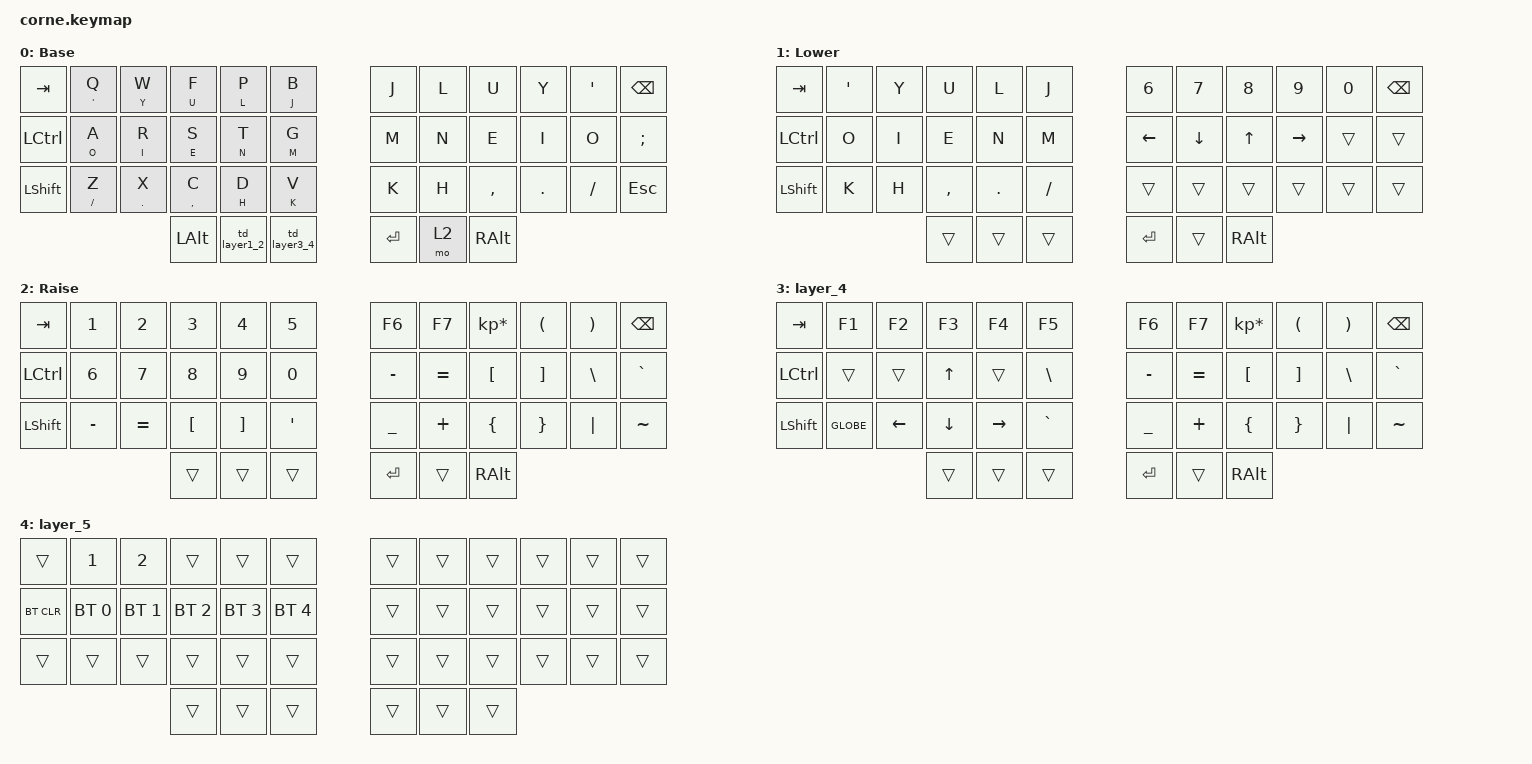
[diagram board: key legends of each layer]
/*
 * Copyright (c) 2020 The ZMK Contributors
 *
 * SPDX-License-Identifier: MIT
 */

#include <behaviors.dtsi>
#include <dt-bindings/zmk/bt.h>
#include <dt-bindings/zmk/keys.h>

/ {
    combos {
        compatible = "zmk,combos";

        enter2 {
            bindings = <&kp ENTER>;
            key-positions = <4 16>;
        };

        bck2 {
            bindings = <&kp BACKSPACE>;
            key-positions = <16 3>;
        };

        esc2 {
            bindings = <&kp ESCAPE>;
            key-positions = <2 14>;
        };

        space2 {
            bindings = <&kp SPACE>;
            key-positions = <3 15>;
        };

        layer_0 {
            bindings = <&to 0>;
            key-positions = <37 1>;
        };

        layer_bt {
            bindings = <&to 4>;
            key-positions = <37 5>;
        };
    };

    behaviors {
        td_layer1_2: td_layer1_2 {
            compatible = "zmk,behavior-tap-dance";
            label = "TD_LAYER1_2";
            #binding-cells = <0>;
            bindings = <&to 0>, <&to 1>, <&to 2>, <&to 3>, <&to 4>;

            tapping-term-ms = <300>;
        };

        td_layer3_4: td_layer3_4 {
            compatible = "zmk,behavior-tap-dance";
            label = "TD_LAYER3_4";
            #binding-cells = <0>;
            tapping-term-ms = <300>;
            bindings = <&kp LEFT_GUI>, <&to 3>, <&to 4>;
        };

        Q_Apostrophe: Q_Apostrophe {
            compatible = "zmk,behavior-hold-tap";
            label = "Q_APOSTROPHE";
            bindings = <&kp>, <&kp>;

            #binding-cells = <2>;
            tapping-term-ms = <300>;
        };

        W_Y: W_Y {
            compatible = "zmk,behavior-hold-tap";
            label = "W_Y";
            bindings = <&kp>, <&kp>;

            #binding-cells = <2>;
            tapping-term-ms = <300>;
        };

        F_U: F_U {
            compatible = "zmk,behavior-hold-tap";
            label = "F_U";
            bindings = <&kp>, <&kp>;

            #binding-cells = <2>;
            tapping-term-ms = <300>;
        };

        P_L: P_L {
            compatible = "zmk,behavior-hold-tap";
            label = "P_L";
            bindings = <&kp>, <&kp>;

            #binding-cells = <2>;
            tapping-term-ms = <300>;
        };

        B_J: B_J {
            compatible = "zmk,behavior-hold-tap";
            label = "B_J";
            bindings = <&kp>, <&kp>;

            #binding-cells = <2>;
            tapping-term-ms = <300>;
        };

        A_O: A_O {
            compatible = "zmk,behavior-hold-tap";
            label = "A_O";
            bindings = <&kp>, <&kp>;

            #binding-cells = <2>;
            tapping-term-ms = <300>;
        };

        R_I: R_I {
            compatible = "zmk,behavior-hold-tap";
            label = "R_I";
            bindings = <&kp>, <&kp>;

            #binding-cells = <2>;
            tapping-term-ms = <300>;
        };

        S_E: S_E {
            compatible = "zmk,behavior-hold-tap";
            label = "S_E";
            bindings = <&kp>, <&kp>;

            #binding-cells = <2>;
            tapping-term-ms = <300>;
        };

        T_N: T_N {
            compatible = "zmk,behavior-hold-tap";
            label = "T_N";
            bindings = <&kp>, <&kp>;

            #binding-cells = <2>;
            tapping-term-ms = <300>;
        };

        G_M: G_M {
            compatible = "zmk,behavior-hold-tap";
            label = "G_M";
            bindings = <&kp>, <&kp>;

            #binding-cells = <2>;
            tapping-term-ms = <300>;
        };

        Z_Right_Slash: Z_Right_Slash {
            compatible = "zmk,behavior-hold-tap";
            label = "Z_RIGHT_SLASH";
            bindings = <&kp>, <&kp>;

            #binding-cells = <2>;
            tapping-term-ms = <300>;
        };

        X_Dot: X_Dot {
            compatible = "zmk,behavior-hold-tap";
            label = "X_DOT";
            bindings = <&kp>, <&kp>;

            #binding-cells = <2>;
            tapping-term-ms = <300>;
        };

        C_Coma: C_Coma {
            compatible = "zmk,behavior-hold-tap";
            label = "C_COMA";
            bindings = <&kp>, <&kp>;

            #binding-cells = <2>;
            tapping-term-ms = <300>;
        };

        D_H: D_H {
            compatible = "zmk,behavior-hold-tap";
            label = "D_H";
            bindings = <&kp>, <&kp>;

            #binding-cells = <2>;
            tapping-term-ms = <300>;
        };

        V_K: V_K {
            compatible = "zmk,behavior-hold-tap";
            label = "V_K";
            bindings = <&kp>, <&kp>;

            #binding-cells = <2>;
            tapping-term-ms = <300>;
        };
    };

    keymap {
        compatible = "zmk,keymap";

        default_layer {
            // -----------------------------------------------------------------------------------------
            // |  TAB |  Q  |  W  |  E  |  R  |  T  |   |  Y  |  U   |  I  |  O  |  P  | BKSP |
            // | CTRL |  A  |  S  |  D  |  F  |  G  |   |  H  |  J   |  K  |  L  |  ;  |  '   |
            // | SHFT |  Z  |  X  |  C  |  V  |  B  |   |  N  |  M   |  ,  |  .  |  /  | ESC  |
            //                    | GUI | LWR | SPC |   | ENT | RSE  | ALT |

            display-name = "Base";
            bindings = <
&kp TAB    &Q_Apostrophe APOSTROPHE Q  &W_Y Y W         &F_U U F         &P_L L P      &B_J J B        &kp J    &kp L  &kp U      &kp Y    &kp APOSTROPHE  &kp BSPC
&kp LCTRL  &A_O O A                    &R_I I R         &S_E E S         &T_N N T      &G_M M G        &kp M    &kp N  &kp E      &kp I    &kp O           &kp SEMICOLON
&kp LSHFT  &Z_Right_Slash SLASH Z      &X_Dot PERIOD X  &C_Coma COMMA C  &D_H H D      &V_K K V        &kp K    &kp H  &kp COMMA  &kp DOT  &kp FSLH        &kp ESC
                                                        &kp LEFT_ALT     &td_layer1_2  &td_layer3_4    &kp RET  &mo 2  &kp RALT
            >;
        };

        lower_layer {
            // -----------------------------------------------------------------------------------------
            // |  TAB |  1  |  2  |  3  |  4  |  5  |   |  6  |  7  |  8  |  9  |  0  | BKSP |
            // | BTCLR| BT1 | BT2 | BT3 | BT4 | BT5 |   | LFT | DWN |  UP | RGT |     |      |
            // | SHFT |     |     |     |     |     |   |     |     |     |     |     |      |
            //                    | GUI |     | SPC |   | ENT |     | ALT |

            display-name = "Lower";
            bindings = <
&kp TAB           &kp APOSTROPHE  &kp Y  &kp U      &kp L    &kp J        &kp N6    &kp N7    &kp N8    &kp N9     &kp N0  &kp BSPC
&kp LEFT_CONTROL  &kp O           &kp I  &kp E      &kp N    &kp M        &kp LEFT  &kp DOWN  &kp UP    &kp RIGHT  &trans  &trans
&kp LSHFT         &kp K           &kp H  &kp COMMA  &kp DOT  &kp SLASH    &trans    &trans    &trans    &trans     &trans  &trans
                                         &trans     &trans   &trans       &kp RET   &trans    &kp RALT
            >;
        };

        raise_layer {
            // -----------------------------------------------------------------------------------------
            // |  TAB |  !  |  @  |  #  |  $  |  %  |   |  ^  |  &  |  *  |  (  |  )  | BKSP |
            // | CTRL |     |     |     |     |     |   |  -  |  =  |  [  |  ]  |  \  |  `   |
            // | SHFT |     |     |     |     |     |   |  _  |  +  |  {  |  }  | "|" |  ~   |
            //                    | GUI |     | SPC |   | ENT |     | ALT |

            display-name = "Raise";
            bindings = <
&kp TAB    &kp NUMBER_1  &kp NUMBER_2  &kp NUMBER_3      &kp NUMBER_4       &kp N5     &kp F6     &kp F7     &kp KP_MULTIPLY  &kp LPAR  &kp RPAR  &kp BSPC
&kp LCTRL  &kp NUMBER_6  &kp N7        &kp N8            &kp N9             &kp N0     &kp MINUS  &kp EQUAL  &kp LBKT         &kp RBKT  &kp BSLH  &kp GRAVE
&kp LSHFT  &kp MINUS     &kp EQUAL     &kp LEFT_BRACKET  &kp RIGHT_BRACKET  &kp SQT    &kp UNDER  &kp PLUS   &kp LBRC         &kp RBRC  &kp PIPE  &kp TILDE
                                       &trans            &trans             &trans     &kp RET    &trans     &kp RALT
            >;
        };

        layer_4 {
            display-name = "layer_4";
            bindings = <
&kp TAB    &kp F1     &kp F2          &kp F3          &kp F4           &kp F5           &kp F6     &kp F7     &kp KP_MULTIPLY  &kp LPAR  &kp RPAR  &kp BSPC
&kp LCTRL  &trans     &trans          &kp UP_ARROW    &trans           &kp BACKSLASH    &kp MINUS  &kp EQUAL  &kp LBKT         &kp RBKT  &kp BSLH  &kp GRAVE
&kp LSHFT  &kp GLOBE  &kp LEFT_ARROW  &kp DOWN_ARROW  &kp RIGHT_ARROW  &kp GRAVE        &kp UNDER  &kp PLUS   &kp LBRC         &kp RBRC  &kp PIPE  &kp TILDE
                                      &trans          &trans           &trans           &kp RET    &trans     &kp RALT
            >;

            label = "layer_4";
        };

        layer_5 {
            bindings = <
&trans      &kp NUMBER_1  &kp NUMBER_2  &trans        &trans        &trans          &trans  &trans  &trans  &trans  &trans  &trans
&bt BT_CLR  &bt BT_SEL 0  &bt BT_SEL 1  &bt BT_SEL 2  &bt BT_SEL 3  &bt BT_SEL 4    &trans  &trans  &trans  &trans  &trans  &trans
&trans      &trans        &trans        &trans        &trans        &trans          &trans  &trans  &trans  &trans  &trans  &trans
                                        &trans        &trans        &trans          &trans  &trans  &trans
            >;

            label = "layer_5";
        };
    };
};
